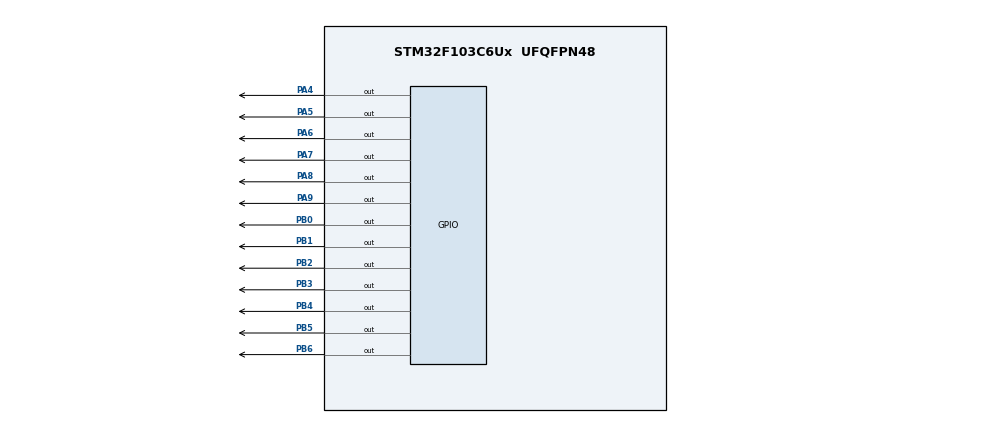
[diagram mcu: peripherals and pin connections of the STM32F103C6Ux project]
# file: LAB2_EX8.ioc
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Mcu.Family=STM32F1
Mcu.Name=STM32F103C6Ux
Mcu.Package=UFQFPN48
NVIC.PriorityGroup=NVIC_PRIORITYGROUP_4
NVIC.TIM2_IRQn=true\:0\:0\:false\:false\:true\:true\:true
PA4.Signal=GPIO_Output
PA5.Signal=GPIO_Output
PA6.Signal=GPIO_Output
PA7.Signal=GPIO_Output
PA8.Signal=GPIO_Output
PA9.Signal=GPIO_Output
PB0.Signal=GPIO_Output
PB1.Signal=GPIO_Output
PB2.Signal=GPIO_Output
PB3.Signal=GPIO_Output
PB4.Signal=GPIO_Output
PB5.Signal=GPIO_Output
PB6.Signal=GPIO_Output
ProjectManager.HeapSize=0x200
ProjectManager.StackSize=0x400
ProjectManager.TargetToolchain=STM32CubeIDE
RCC.APB1Freq_Value=8000000
RCC.APB2Freq_Value=8000000
TIM2.Period=9
TIM2.Prescaler=7999
VP_SYS_VS_ND.Mode=No_Debug
VP_TIM2_VS_ClockSourceINT.Mode=Internal
board=custom

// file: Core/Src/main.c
/* USER CODE BEGIN Header */
/**
  ******************************************************************************
  * @file           : main.c
  * @brief          : Main program body
  ******************************************************************************
  * @attention
  *
  * <h2><center>&copy; Copyright (c) 2025 STMicroelectronics.
  * All rights reserved.</center></h2>
  *
  * This software component is licensed by ST under BSD 3-Clause license,
  * the "License"; You may not use this file except in compliance with the
  * License. You may obtain a copy of the License at:
  *                        opensource.org/licenses/BSD-3-Clause
  *
  ******************************************************************************
  */
/* USER CODE END Header */
#include "main.h"

TIM_HandleTypeDef htim2;

void SystemClock_Config(void);
static void MX_GPIO_Init(void);
static void MX_TIM2_Init(void);

/* USER CODE BEGIN 0 */
volatile int tick10ms = 0;
volatile int index_led = 0;

const int MAX_LED = 4;
int led_buffer[4] = {0,0,0,0};

int hour = 15, minute = 8, second = 50;

int timer0_counter = 0;
int timer0_flag = 0;

int timer1_counter = 0;
int timer1_flag = 0;

int TIMER_CYCLE = 10;

void setTimer0(int duration){
    timer0_counter = duration / TIMER_CYCLE;
    timer0_flag = 0;
}

void setTimer1(int duration){
    timer1_counter = duration / TIMER_CYCLE;
    timer1_flag = 0;
}

void timer_run(){
    if(timer0_counter > 0){
        timer0_counter--;
        if(timer0_counter == 0) timer0_flag = 1;
    }
    if(timer1_counter > 0){
        timer1_counter--;
        if(timer1_counter == 0) timer1_flag = 1;
    }
}

void display7SEG(int num){
    HAL_GPIO_WritePin(GPIOB, 0x7F, GPIO_PIN_SET);

    switch(num){
        case 0: HAL_GPIO_WritePin(GPIOB, GPIO_PIN_0|GPIO_PIN_1|GPIO_PIN_2|GPIO_PIN_3|GPIO_PIN_4|GPIO_PIN_5, GPIO_PIN_RESET); break;
        case 1: HAL_GPIO_WritePin(GPIOB, GPIO_PIN_1|GPIO_PIN_2, GPIO_PIN_RESET); break;
        case 2: HAL_GPIO_WritePin(GPIOB, GPIO_PIN_0|GPIO_PIN_1|GPIO_PIN_3|GPIO_PIN_4|GPIO_PIN_6, GPIO_PIN_RESET); break;
        case 3: HAL_GPIO_WritePin(GPIOB, GPIO_PIN_0|GPIO_PIN_1|GPIO_PIN_2|GPIO_PIN_3|GPIO_PIN_6, GPIO_PIN_RESET); break;
        case 4: HAL_GPIO_WritePin(GPIOB, GPIO_PIN_1|GPIO_PIN_2|GPIO_PIN_5|GPIO_PIN_6, GPIO_PIN_RESET); break;
        case 5: HAL_GPIO_WritePin(GPIOB, GPIO_PIN_0|GPIO_PIN_2|GPIO_PIN_3|GPIO_PIN_5|GPIO_PIN_6, GPIO_PIN_RESET); break;
        case 6: HAL_GPIO_WritePin(GPIOB, GPIO_PIN_0|GPIO_PIN_2|GPIO_PIN_3|GPIO_PIN_4|GPIO_PIN_5|GPIO_PIN_6, GPIO_PIN_RESET); break;
        case 7: HAL_GPIO_WritePin(GPIOB, GPIO_PIN_0|GPIO_PIN_1|GPIO_PIN_2, GPIO_PIN_RESET); break;
        case 8: HAL_GPIO_WritePin(GPIOB, 0x7F, GPIO_PIN_RESET); break;
        case 9: HAL_GPIO_WritePin(GPIOB, GPIO_PIN_0|GPIO_PIN_1|GPIO_PIN_2|GPIO_PIN_3|GPIO_PIN_5|GPIO_PIN_6, GPIO_PIN_RESET); break;
    }
}

void disableAllDigits(void){
    HAL_GPIO_WritePin(GPIOA, GPIO_PIN_6|GPIO_PIN_7|GPIO_PIN_8|GPIO_PIN_9, GPIO_PIN_SET);
}
void enableDigit(int idx){
    switch(idx){
        case 0: HAL_GPIO_WritePin(GPIOA, GPIO_PIN_6, GPIO_PIN_RESET); break;
        case 1: HAL_GPIO_WritePin(GPIOA, GPIO_PIN_7, GPIO_PIN_RESET); break;
        case 2: HAL_GPIO_WritePin(GPIOA, GPIO_PIN_8, GPIO_PIN_RESET); break;
        case 3: HAL_GPIO_WritePin(GPIOA, GPIO_PIN_9, GPIO_PIN_RESET); break;
    }
}

void update7SEG(int index){
    disableAllDigits();
    display7SEG(led_buffer[index]);
    enableDigit(index);
}

void updateClockBuffer(){
    led_buffer[0] = hour / 10;
    led_buffer[1] = hour % 10;
    led_buffer[2] = minute / 10;
    led_buffer[3] = minute % 10;
}

/* USER CODE END 0 */

int main(void)
{

  /* MCU Configuration--------------------------------------------------------*/

  /* Reset of all peripherals, Initializes the Flash interface and the Systick. */
  HAL_Init();

  /* Configure the system clock */
  SystemClock_Config();

  /* Initialize all configured peripherals */
  MX_GPIO_Init();
  MX_TIM2_Init();
  /* USER CODE BEGIN 2 */
  HAL_TIM_Base_Start_IT(&htim2);
  /* USER CODE END 2 */

  /* Infinite loop */
  /* USER CODE BEGIN WHILE */
  updateClockBuffer();
  setTimer0(1000);
  setTimer1(250);
  while (1)
  {
	    if(timer0_flag == 1){
	        timer0_flag = 0;
	        second++;
	        if(second >= 60){ second = 0; minute++; }
	        if(minute >= 60){ minute = 0; hour++; }
	        if(hour >= 24){ hour = 0; }
	        updateClockBuffer();
	        setTimer0(1000);

	        HAL_GPIO_TogglePin(GPIOA, GPIO_PIN_4);
	        HAL_GPIO_TogglePin(GPIOA, GPIO_PIN_5);
	    }

	    if(timer1_flag == 1){
	        timer1_flag = 0;
	        update7SEG(index_led);
	        index_led = (index_led + 1) % MAX_LED;
	        setTimer1(250);
	    }
    /* USER CODE END WHILE */

  }
}

void SystemClock_Config(void)
{
  RCC_OscInitTypeDef RCC_OscInitStruct = {0};
  RCC_ClkInitTypeDef RCC_ClkInitStruct = {0};

  /** Initializes the RCC Oscillators according to the specified parameters
  * in the RCC_OscInitTypeDef structure.
  */
  RCC_OscInitStruct.OscillatorType = RCC_OSCILLATORTYPE_HSI;
  RCC_OscInitStruct.HSIState = RCC_HSI_ON;
  RCC_OscInitStruct.HSICalibrationValue = RCC_HSICALIBRATION_DEFAULT;
  RCC_OscInitStruct.PLL.PLLState = RCC_PLL_NONE;
  if (HAL_RCC_OscConfig(&RCC_OscInitStruct) != HAL_OK)
  {
    Error_Handler();
  }
  /** Initializes the CPU, AHB and APB buses clocks
  */
  RCC_ClkInitStruct.ClockType = RCC_CLOCKTYPE_HCLK|RCC_CLOCKTYPE_SYSCLK
                              |RCC_CLOCKTYPE_PCLK1|RCC_CLOCKTYPE_PCLK2;
  RCC_ClkInitStruct.SYSCLKSource = RCC_SYSCLKSOURCE_HSI;
  RCC_ClkInitStruct.AHBCLKDivider = RCC_SYSCLK_DIV1;
  RCC_ClkInitStruct.APB1CLKDivider = RCC_HCLK_DIV1;
  RCC_ClkInitStruct.APB2CLKDivider = RCC_HCLK_DIV1;

  if (HAL_RCC_ClockConfig(&RCC_ClkInitStruct, FLASH_LATENCY_0) != HAL_OK)
  {
    Error_Handler();
  }
}

static void MX_TIM2_Init(void)
{

  TIM_ClockConfigTypeDef sClockSourceConfig = {0};
  TIM_MasterConfigTypeDef sMasterConfig = {0};

  htim2.Instance = TIM2;
  htim2.Init.Prescaler = 7999;
  htim2.Init.CounterMode = TIM_COUNTERMODE_UP;
  htim2.Init.Period = 9;
  htim2.Init.ClockDivision = TIM_CLOCKDIVISION_DIV1;
  htim2.Init.AutoReloadPreload = TIM_AUTORELOAD_PRELOAD_DISABLE;
  if (HAL_TIM_Base_Init(&htim2) != HAL_OK)
  {
    Error_Handler();
  }
  sClockSourceConfig.ClockSource = TIM_CLOCKSOURCE_INTERNAL;
  if (HAL_TIM_ConfigClockSource(&htim2, &sClockSourceConfig) != HAL_OK)
  {
    Error_Handler();
  }
  sMasterConfig.MasterOutputTrigger = TIM_TRGO_RESET;
  sMasterConfig.MasterSlaveMode = TIM_MASTERSLAVEMODE_DISABLE;
  if (HAL_TIMEx_MasterConfigSynchronization(&htim2, &sMasterConfig) != HAL_OK)
  {
    Error_Handler();
  }

}

static void MX_GPIO_Init(void)
{
  GPIO_InitTypeDef GPIO_InitStruct = {0};

  /* GPIO Ports Clock Enable */
  __HAL_RCC_GPIOA_CLK_ENABLE();
  __HAL_RCC_GPIOB_CLK_ENABLE();

  /*Configure GPIO pin Output Level */
  HAL_GPIO_WritePin(GPIOA, GPIO_PIN_4|GPIO_PIN_5|GPIO_PIN_6|GPIO_PIN_7
                          |GPIO_PIN_8|GPIO_PIN_9, GPIO_PIN_RESET);

  /*Configure GPIO pin Output Level */
  HAL_GPIO_WritePin(GPIOB, GPIO_PIN_0|GPIO_PIN_1|GPIO_PIN_2|GPIO_PIN_3
                          |GPIO_PIN_4|GPIO_PIN_5|GPIO_PIN_6, GPIO_PIN_RESET);

  /*Configure GPIO pins : PA4 PA5 PA6 PA7
                           PA8 PA9 */
  GPIO_InitStruct.Pin = GPIO_PIN_4|GPIO_PIN_5|GPIO_PIN_6|GPIO_PIN_7
                          |GPIO_PIN_8|GPIO_PIN_9;
  GPIO_InitStruct.Mode = GPIO_MODE_OUTPUT_PP;
  GPIO_InitStruct.Pull = GPIO_NOPULL;
  GPIO_InitStruct.Speed = GPIO_SPEED_FREQ_LOW;
  HAL_GPIO_Init(GPIOA, &GPIO_InitStruct);

  /*Configure GPIO pins : PB0 PB1 PB2 PB3
                           PB4 PB5 PB6 */
  GPIO_InitStruct.Pin = GPIO_PIN_0|GPIO_PIN_1|GPIO_PIN_2|GPIO_PIN_3
                          |GPIO_PIN_4|GPIO_PIN_5|GPIO_PIN_6;
  GPIO_InitStruct.Mode = GPIO_MODE_OUTPUT_PP;
  GPIO_InitStruct.Pull = GPIO_NOPULL;
  GPIO_InitStruct.Speed = GPIO_SPEED_FREQ_LOW;
  HAL_GPIO_Init(GPIOB, &GPIO_InitStruct);

}

/* USER CODE BEGIN 4 */
void HAL_TIM_PeriodElapsedCallback(TIM_HandleTypeDef *htim){
    if(htim->Instance == TIM2){
        timer_run();
    }
}
/* USER CODE END 4 */

void Error_Handler(void)
{
  __disable_irq();
  while (1)
  {
  }
}

/************************ (C) COPYRIGHT STMicroelectronics *****END OF FILE****/
